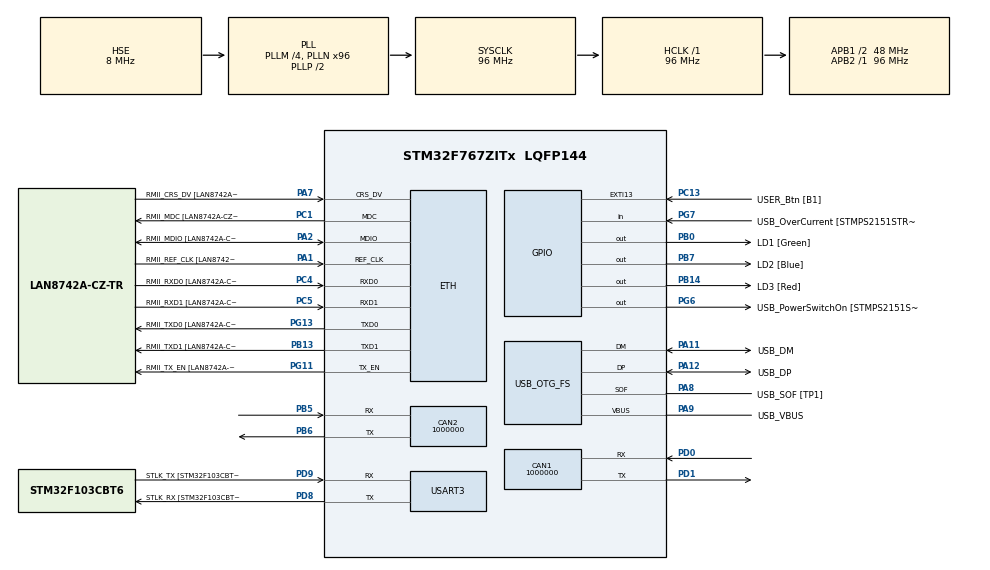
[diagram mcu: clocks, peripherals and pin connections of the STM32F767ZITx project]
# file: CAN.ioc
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CAN1.CalculateBaudRate=1000000
CAN1.CalculateTimeQuantum=333.3333333333333
CAN2.CalculateBaudRate=1000000
CAN2.CalculateTimeQuantum=333.3333333333333
ETH.MediaInterface=HAL_ETH_RMII_MODE
ETH.PHY_Name=LAN8742A_PHY_ADDRESS
ETH.PHY_Value=0
ETH.PhyAddress=0
FREERTOS.Tasks01=defaultTask,24,128,StartDefaultTask,Default,NULL,Dynamic,NULL,NULL;can1_sender,16,128,can1_sender_entry,Default,NULL,Dynamic,NULL,NULL;can2_sender,24,128,can2_sender_entry,Default,NULL,Dynamic,NULL,NULL
Mcu.Family=STM32F7
Mcu.Name=STM32F767ZITx
Mcu.Package=LQFP144
NVIC.CAN1_RX0_IRQn=true\:5\:0\:false\:false\:true\:true\:true\:true\:true
NVIC.CAN1_RX1_IRQn=true\:5\:0\:false\:false\:true\:true\:true\:true\:true
NVIC.CAN2_RX0_IRQn=true\:6\:0\:true\:false\:true\:true\:true\:true\:true
NVIC.CAN2_RX1_IRQn=true\:6\:0\:true\:false\:true\:true\:true\:true\:true
NVIC.PriorityGroup=NVIC_PRIORITYGROUP_4
PA1.GPIO_Label=RMII_REF_CLK [LAN8742A-CZ-TR_REFCLK0]
PA1.Mode=RMII
PA1.Signal=ETH_REF_CLK
PA10.GPIO_Label=USB_ID
PA10.Signal=USB_OTG_FS_ID
PA11.GPIO_Label=USB_DM
PA11.Mode=Device_Only
PA11.Signal=USB_OTG_FS_DM
PA12.GPIO_Label=USB_DP
PA12.Mode=Device_Only
PA12.Signal=USB_OTG_FS_DP
PA13.GPIO_Label=TMS
PA13.Mode=Serial_Wire
PA13.Signal=SYS_JTMS-SWDIO
PA14.GPIO_Label=TCK
PA14.Mode=Serial_Wire
PA14.Signal=SYS_JTCK-SWCLK
PA2.GPIO_Label=RMII_MDIO [LAN8742A-CZ-TR_MDIO]
PA2.Mode=RMII
PA2.Signal=ETH_MDIO
PA7.GPIO_Label=RMII_CRS_DV [LAN8742A-CZ-TR_CRS_DV]
PA7.Mode=RMII
PA7.Signal=ETH_CRS_DV
PA8.GPIO_Label=USB_SOF [TP1]
PA8.Mode=Activate_SOF_FS
PA8.Signal=USB_OTG_FS_SOF
PA9.GPIO_Label=USB_VBUS
PA9.Mode=Activate_VBUS
PA9.Signal=USB_OTG_FS_VBUS
PB0.GPIO_Label=LD1 [Green]
PB0.Signal=GPIO_Output
PB13.GPIO_Label=RMII_TXD1 [LAN8742A-CZ-TR_TXD1]
PB13.Mode=RMII
PB13.Signal=ETH_TXD1
PB14.GPIO_Label=LD3 [Red]
PB14.Signal=GPIO_Output
PB3.GPIO_Label=SWO
PB3.Signal=SYS_JTDO-SWO
PB5.Mode=CAN_Activate
PB5.Signal=CAN2_RX
PB6.Mode=CAN_Activate
PB6.Signal=CAN2_TX
PB7.GPIO_Label=LD2 [Blue]
PB7.Signal=GPIO_Output
PC1.GPIO_Label=RMII_MDC [LAN8742A-CZ-TR_MDC]
PC1.Mode=RMII
PC1.Signal=ETH_MDC
PC13.GPIO_Label=USER_Btn [B1]
PC13.Signal=GPXTI13
PC14/OSC32_IN.Mode=LSE-External-Oscillator
PC14/OSC32_IN.Signal=RCC_OSC32_IN
PC15/OSC32_OUT.Mode=LSE-External-Oscillator
PC15/OSC32_OUT.Signal=RCC_OSC32_OUT
PC4.GPIO_Label=RMII_RXD0 [LAN8742A-CZ-TR_RXD0]
PC4.Mode=RMII
PC4.Signal=ETH_RXD0
PC5.GPIO_Label=RMII_RXD1 [LAN8742A-CZ-TR_RXD1]
PC5.Mode=RMII
PC5.Signal=ETH_RXD1
PD0.Mode=CAN_Activate
PD0.Signal=CAN1_RX
PD1.Mode=CAN_Activate
PD1.Signal=CAN1_TX
PD8.GPIO_Label=STLK_RX [STM32F103CBT6_PA3]
PD8.Mode=Asynchronous
PD8.Signal=USART3_TX
PD9.GPIO_Label=STLK_TX [STM32F103CBT6_PA2]
PD9.Mode=Asynchronous
PD9.Signal=USART3_RX
PG11.GPIO_Label=RMII_TX_EN [LAN8742A-CZ-TR_TXEN]
PG11.Mode=RMII
PG11.Signal=ETH_TX_EN
PG13.GPIO_Label=RMII_TXD0 [LAN8742A-CZ-TR_TXD0]
PG13.Mode=RMII
PG13.Signal=ETH_TXD0
PG6.GPIO_Label=USB_PowerSwitchOn [STMPS2151STR_EN]
PG6.Signal=GPIO_Output
PG7.GPIO_Label=USB_OverCurrent [STMPS2151STR_FAULT]
PG7.Signal=GPIO_Input
PH0/OSC_IN.GPIO_Label=MCO [STM32F103CBT6_PA8]
PH0/OSC_IN.Mode=HSE-External-Clock-Source
PH0/OSC_IN.Signal=RCC_OSC_IN
PH1/OSC_OUT.Mode=HSE-External-Clock-Source
PH1/OSC_OUT.Signal=RCC_OSC_OUT
ProjectManager.HeapSize=0x200
ProjectManager.StackSize=0x400
ProjectManager.TargetToolchain=STM32CubeIDE
RCC.48MHZClocksFreq_Value=24000000
RCC.AHBFreq_Value=96000000
RCC.APB1CLKDivider=RCC_HCLK_DIV2
RCC.APB1Freq_Value=48000000
RCC.APB1TimFreq_Value=96000000
RCC.APB2Freq_Value=96000000
RCC.APB2TimFreq_Value=96000000
RCC.CortexFreq_Value=96000000
RCC.HCLKFreq_Value=96000000
RCC.HSE_VALUE=8000000
RCC.HSI_VALUE=16000000
RCC.PLLM=4
RCC.PLLMUL=RCC_PLL_MUL9
RCC.PLLN=96
RCC.PLLQ=4
RCC.PRESCALERUSB=RCC_USBCLKSOURCE_PLL_DIV1_5
RCC.SYSCLKFreq_VALUE=96000000
RCC.SYSCLKSource=RCC_SYSCLKSOURCE_PLLCLK
RCC.SYSCLKSourceVirtual=RCC_SYSCLKSOURCE_PLLCLK
RCC.USBFreq_Value=48000000
RCC.VCOOutputFreq_Value=192000000
USART3.VirtualMode-Asynchronous=VM_ASYNC
USB_OTG_FS.VirtualMode=Device_Only
VP_FREERTOS_VS_CMSIS_V2.Mode=CMSIS_V2
board=NUCLEO-F767ZI

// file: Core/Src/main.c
/* USER CODE BEGIN Header */
/**
  ******************************************************************************
  * @file           : main.c
  * @brief          : Main program body
  ******************************************************************************
  * @attention
  *
  * Copyright (c) 2023 STMicroelectronics.
  * All rights reserved.
  *
  * This software is licensed under terms that can be found in the LICENSE file
  * in the root directory of this software component.
  * If no LICENSE file comes with this software, it is provided AS-IS.
  *
  ******************************************************************************
  */
/* USER CODE END Header */
#include "main.h"
#include "string.h"
#include "cmsis_os.h"

/* USER CODE BEGIN Includes */
#include <SEGGER_SYSVIEW.h>
/* USER CODE END Includes */

#if defined ( __ICCARM__ ) /*!< IAR Compiler */
#pragma location=0x2007c000
ETH_DMADescTypeDef  DMARxDscrTab[ETH_RX_DESC_CNT]; /* Ethernet Rx DMA Descriptors */
#pragma location=0x2007c0a0
ETH_DMADescTypeDef  DMATxDscrTab[ETH_TX_DESC_CNT]; /* Ethernet Tx DMA Descriptors */

#elif defined ( __CC_ARM )  /* MDK ARM Compiler */

__attribute__((at(0x2007c000))) ETH_DMADescTypeDef  DMARxDscrTab[ETH_RX_DESC_CNT]; /* Ethernet Rx DMA Descriptors */
__attribute__((at(0x2007c0a0))) ETH_DMADescTypeDef  DMATxDscrTab[ETH_TX_DESC_CNT]; /* Ethernet Tx DMA Descriptors */

#elif defined ( __GNUC__ ) /* GNU Compiler */
ETH_DMADescTypeDef DMARxDscrTab[ETH_RX_DESC_CNT] __attribute__((section(".RxDecripSection"))); /* Ethernet Rx DMA Descriptors */
ETH_DMADescTypeDef DMATxDscrTab[ETH_TX_DESC_CNT] __attribute__((section(".TxDecripSection")));   /* Ethernet Tx DMA Descriptors */

#endif

ETH_TxPacketConfig TxConfig;

CAN_HandleTypeDef hcan1;
CAN_HandleTypeDef hcan2;

ETH_HandleTypeDef heth;

UART_HandleTypeDef huart3;

PCD_HandleTypeDef hpcd_USB_OTG_FS;

/* Definitions for defaultTask */
osThreadId_t defaultTaskHandle;
const osThreadAttr_t defaultTask_attributes = {
  .name = "defaultTask",
  .stack_size = 128 * 4,
  .priority = (osPriority_t) osPriorityNormal,
};
/* Definitions for can1_sender */
osThreadId_t can1_senderHandle;
const osThreadAttr_t can1_sender_attributes = {
  .name = "can1_sender",
  .stack_size = 128 * 4,
  .priority = (osPriority_t) osPriorityBelowNormal,
};
/* Definitions for can2_sender */
osThreadId_t can2_senderHandle;
const osThreadAttr_t can2_sender_attributes = {
  .name = "can2_sender",
  .stack_size = 128 * 4,
  .priority = (osPriority_t) osPriorityNormal,
};

void SystemClock_Config(void);
static void MX_GPIO_Init(void);
static void MX_ETH_Init(void);
static void MX_USART3_UART_Init(void);
static void MX_USB_OTG_FS_PCD_Init(void);
static void MX_CAN1_Init(void);
static void MX_CAN2_Init(void);
void StartDefaultTask(void *argument);
void can1_sender_entry(void *argument);
void can2_sender_entry(void *argument);

/* USER CODE BEGIN 0 */

uint8_t RxData[8];
CAN_RxHeaderTypeDef RxHeader;
int datacheck = 0;
void HAL_CAN_RxFifo0MsgPendingCallback(CAN_HandleTypeDef *hcan)
{
	SEGGER_SYSVIEW_PrintfHost("received");
	HAL_CAN_GetRxMessage(hcan, CAN_RX_FIFO0, &RxHeader, RxData);
	if (RxHeader.DLC == 2)
	{
		SEGGER_SYSVIEW_PrintfHost("received");
	}
}
void HAL_CAN_RxFifo1MsgPendingCallback(CAN_HandleTypeDef *hcan)
{
	SEGGER_SYSVIEW_PrintfHost("received");
	HAL_CAN_GetRxMessage(hcan, CAN_RX_FIFO0, &RxHeader, RxData);
	if (RxHeader.DLC == 2)
	{
		SEGGER_SYSVIEW_PrintfHost("received");
	}
}
/* USER CODE END 0 */

int main(void)
{

  /* MCU Configuration--------------------------------------------------------*/

  /* Reset of all peripherals, Initializes the Flash interface and the Systick. */
  HAL_Init();

  /* Configure the system clock */
  SystemClock_Config();

  /* Initialize all configured peripherals */
  MX_GPIO_Init();
  MX_ETH_Init();
  MX_USART3_UART_Init();
  MX_USB_OTG_FS_PCD_Init();
  MX_CAN1_Init();
  MX_CAN2_Init();
  /* USER CODE BEGIN 2 */
  SEGGER_SYSVIEW_Conf();
  HAL_CAN_Start(&hcan1);
  HAL_CAN_Start(&hcan2);
  HAL_CAN_ActivateNotification(&hcan2, CAN_IT_RX_FIFO0_MSG_PENDING);
  /* USER CODE END 2 */

  /* Init scheduler */
  osKernelInitialize();

  /* Create the thread(s) */
  /* creation of defaultTask */
  defaultTaskHandle = osThreadNew(StartDefaultTask, NULL, &defaultTask_attributes);

  /* creation of can1_sender */
  can1_senderHandle = osThreadNew(can1_sender_entry, NULL, &can1_sender_attributes);

  /* creation of can2_sender */
  can2_senderHandle = osThreadNew(can2_sender_entry, NULL, &can2_sender_attributes);

  /* Start scheduler */
  osKernelStart();

  /* We should never get here as control is now taken by the scheduler */
  /* Infinite loop */
  while (1)
  {

  }
}

void SystemClock_Config(void)
{
  RCC_OscInitTypeDef RCC_OscInitStruct = {0};
  RCC_ClkInitTypeDef RCC_ClkInitStruct = {0};

  /** Configure LSE Drive Capability
  */
  HAL_PWR_EnableBkUpAccess();

  /** Configure the main internal regulator output voltage
  */
  __HAL_RCC_PWR_CLK_ENABLE();
  __HAL_PWR_VOLTAGESCALING_CONFIG(PWR_REGULATOR_VOLTAGE_SCALE3);

  /** Initializes the RCC Oscillators according to the specified parameters
  * in the RCC_OscInitTypeDef structure.
  */
  RCC_OscInitStruct.OscillatorType = RCC_OSCILLATORTYPE_HSE;
  RCC_OscInitStruct.HSEState = RCC_HSE_BYPASS;
  RCC_OscInitStruct.PLL.PLLState = RCC_PLL_ON;
  RCC_OscInitStruct.PLL.PLLSource = RCC_PLLSOURCE_HSE;
  RCC_OscInitStruct.PLL.PLLM = 4;
  RCC_OscInitStruct.PLL.PLLN = 96;
  RCC_OscInitStruct.PLL.PLLP = RCC_PLLP_DIV2;
  RCC_OscInitStruct.PLL.PLLQ = 4;
  RCC_OscInitStruct.PLL.PLLR = 2;
  if (HAL_RCC_OscConfig(&RCC_OscInitStruct) != HAL_OK)
  {
    Error_Handler();
  }

  /** Activate the Over-Drive mode
  */
  if (HAL_PWREx_EnableOverDrive() != HAL_OK)
  {
    Error_Handler();
  }

  /** Initializes the CPU, AHB and APB buses clocks
  */
  RCC_ClkInitStruct.ClockType = RCC_CLOCKTYPE_HCLK|RCC_CLOCKTYPE_SYSCLK
                              |RCC_CLOCKTYPE_PCLK1|RCC_CLOCKTYPE_PCLK2;
  RCC_ClkInitStruct.SYSCLKSource = RCC_SYSCLKSOURCE_PLLCLK;
  RCC_ClkInitStruct.AHBCLKDivider = RCC_SYSCLK_DIV1;
  RCC_ClkInitStruct.APB1CLKDivider = RCC_HCLK_DIV2;
  RCC_ClkInitStruct.APB2CLKDivider = RCC_HCLK_DIV1;

  if (HAL_RCC_ClockConfig(&RCC_ClkInitStruct, FLASH_LATENCY_3) != HAL_OK)
  {
    Error_Handler();
  }
}

static void MX_CAN1_Init(void)
{

  hcan1.Instance = CAN1;
  hcan1.Init.Prescaler = 16;
  hcan1.Init.Mode = CAN_MODE_NORMAL;
  hcan1.Init.SyncJumpWidth = CAN_SJW_1TQ;
  hcan1.Init.TimeSeg1 = CAN_BS1_1TQ;
  hcan1.Init.TimeSeg2 = CAN_BS2_1TQ;
  hcan1.Init.TimeTriggeredMode = DISABLE;
  hcan1.Init.AutoBusOff = DISABLE;
  hcan1.Init.AutoWakeUp = DISABLE;
  hcan1.Init.AutoRetransmission = DISABLE;
  hcan1.Init.ReceiveFifoLocked = DISABLE;
  hcan1.Init.TransmitFifoPriority = DISABLE;
  if (HAL_CAN_Init(&hcan1) != HAL_OK)
  {
    Error_Handler();
  }

}

static void MX_CAN2_Init(void)
{

  hcan2.Instance = CAN2;
  hcan2.Init.Prescaler = 16;
  hcan2.Init.Mode = CAN_MODE_NORMAL;
  hcan2.Init.SyncJumpWidth = CAN_SJW_1TQ;
  hcan2.Init.TimeSeg1 = CAN_BS1_1TQ;
  hcan2.Init.TimeSeg2 = CAN_BS2_1TQ;
  hcan2.Init.TimeTriggeredMode = DISABLE;
  hcan2.Init.AutoBusOff = DISABLE;
  hcan2.Init.AutoWakeUp = DISABLE;
  hcan2.Init.AutoRetransmission = DISABLE;
  hcan2.Init.ReceiveFifoLocked = DISABLE;
  hcan2.Init.TransmitFifoPriority = DISABLE;
  if (HAL_CAN_Init(&hcan2) != HAL_OK)
  {
    Error_Handler();
  }
  /* USER CODE BEGIN CAN2_Init 2 */
  CAN_FilterTypeDef canfilterconfig;

  canfilterconfig.FilterActivation = CAN_FILTER_ENABLE;
  canfilterconfig.FilterBank = 18;  // which filter bank to use from the assigned ones
  canfilterconfig.FilterFIFOAssignment = CAN_FILTER_FIFO0;
  canfilterconfig.FilterIdHigh = 0x101<<5;
  canfilterconfig.FilterIdLow = 0;
  canfilterconfig.FilterMaskIdHigh = 0x101<<5;
  canfilterconfig.FilterMaskIdLow = 0x0000;
  canfilterconfig.FilterMode = CAN_FILTERMODE_IDMASK;
  canfilterconfig.FilterScale = CAN_FILTERSCALE_32BIT;
  canfilterconfig.SlaveStartFilterBank = 20;  // how many filters to assign to the CAN1 (master can)

  HAL_CAN_ConfigFilter(&hcan2, &canfilterconfig);
  /* USER CODE END CAN2_Init 2 */

}

static void MX_ETH_Init(void)
{

   static uint8_t MACAddr[6];

  heth.Instance = ETH;
  MACAddr[0] = 0x00;
  MACAddr[1] = 0x80;
  MACAddr[2] = 0xE1;
  MACAddr[3] = 0x00;
  MACAddr[4] = 0x00;
  MACAddr[5] = 0x00;
  heth.Init.MACAddr = &MACAddr[0];
  heth.Init.MediaInterface = HAL_ETH_RMII_MODE;
  heth.Init.TxDesc = DMATxDscrTab;
  heth.Init.RxDesc = DMARxDscrTab;
  heth.Init.RxBuffLen = 1524;

  if (HAL_ETH_Init(&heth) != HAL_OK)
  {
    Error_Handler();
  }

  memset(&TxConfig, 0 , sizeof(ETH_TxPacketConfig));
  TxConfig.Attributes = ETH_TX_PACKETS_FEATURES_CSUM | ETH_TX_PACKETS_FEATURES_CRCPAD;
  TxConfig.ChecksumCtrl = ETH_CHECKSUM_IPHDR_PAYLOAD_INSERT_PHDR_CALC;
  TxConfig.CRCPadCtrl = ETH_CRC_PAD_INSERT;

}

static void MX_USART3_UART_Init(void)
{

  huart3.Instance = USART3;
  huart3.Init.BaudRate = 115200;
  huart3.Init.WordLength = UART_WORDLENGTH_8B;
  huart3.Init.StopBits = UART_STOPBITS_1;
  huart3.Init.Parity = UART_PARITY_NONE;
  huart3.Init.Mode = UART_MODE_TX_RX;
  huart3.Init.HwFlowCtl = UART_HWCONTROL_NONE;
  huart3.Init.OverSampling = UART_OVERSAMPLING_16;
  huart3.Init.OneBitSampling = UART_ONE_BIT_SAMPLE_DISABLE;
  huart3.AdvancedInit.AdvFeatureInit = UART_ADVFEATURE_NO_INIT;
  if (HAL_UART_Init(&huart3) != HAL_OK)
  {
    Error_Handler();
  }

}

static void MX_USB_OTG_FS_PCD_Init(void)
{

  hpcd_USB_OTG_FS.Instance = USB_OTG_FS;
  hpcd_USB_OTG_FS.Init.dev_endpoints = 6;
  hpcd_USB_OTG_FS.Init.speed = PCD_SPEED_FULL;
  hpcd_USB_OTG_FS.Init.dma_enable = DISABLE;
  hpcd_USB_OTG_FS.Init.phy_itface = PCD_PHY_EMBEDDED;
  hpcd_USB_OTG_FS.Init.Sof_enable = ENABLE;
  hpcd_USB_OTG_FS.Init.low_power_enable = DISABLE;
  hpcd_USB_OTG_FS.Init.lpm_enable = DISABLE;
  hpcd_USB_OTG_FS.Init.vbus_sensing_enable = ENABLE;
  hpcd_USB_OTG_FS.Init.use_dedicated_ep1 = DISABLE;
  if (HAL_PCD_Init(&hpcd_USB_OTG_FS) != HAL_OK)
  {
    Error_Handler();
  }

}

static void MX_GPIO_Init(void)
{
  GPIO_InitTypeDef GPIO_InitStruct = {0};

  /* GPIO Ports Clock Enable */
  __HAL_RCC_GPIOC_CLK_ENABLE();
  __HAL_RCC_GPIOH_CLK_ENABLE();
  __HAL_RCC_GPIOA_CLK_ENABLE();
  __HAL_RCC_GPIOB_CLK_ENABLE();
  __HAL_RCC_GPIOD_CLK_ENABLE();
  __HAL_RCC_GPIOG_CLK_ENABLE();

  /*Configure GPIO pin Output Level */
  HAL_GPIO_WritePin(GPIOB, LD1_Pin|LD3_Pin|LD2_Pin, GPIO_PIN_RESET);

  /*Configure GPIO pin Output Level */
  HAL_GPIO_WritePin(USB_PowerSwitchOn_GPIO_Port, USB_PowerSwitchOn_Pin, GPIO_PIN_RESET);

  /*Configure GPIO pin : USER_Btn_Pin */
  GPIO_InitStruct.Pin = USER_Btn_Pin;
  GPIO_InitStruct.Mode = GPIO_MODE_IT_RISING;
  GPIO_InitStruct.Pull = GPIO_NOPULL;
  HAL_GPIO_Init(USER_Btn_GPIO_Port, &GPIO_InitStruct);

  /*Configure GPIO pins : LD1_Pin LD3_Pin LD2_Pin */
  GPIO_InitStruct.Pin = LD1_Pin|LD3_Pin|LD2_Pin;
  GPIO_InitStruct.Mode = GPIO_MODE_OUTPUT_PP;
  GPIO_InitStruct.Pull = GPIO_NOPULL;
  GPIO_InitStruct.Speed = GPIO_SPEED_FREQ_LOW;
  HAL_GPIO_Init(GPIOB, &GPIO_InitStruct);

  /*Configure GPIO pin : USB_PowerSwitchOn_Pin */
  GPIO_InitStruct.Pin = USB_PowerSwitchOn_Pin;
  GPIO_InitStruct.Mode = GPIO_MODE_OUTPUT_PP;
  GPIO_InitStruct.Pull = GPIO_NOPULL;
  GPIO_InitStruct.Speed = GPIO_SPEED_FREQ_LOW;
  HAL_GPIO_Init(USB_PowerSwitchOn_GPIO_Port, &GPIO_InitStruct);

  /*Configure GPIO pin : USB_OverCurrent_Pin */
  GPIO_InitStruct.Pin = USB_OverCurrent_Pin;
  GPIO_InitStruct.Mode = GPIO_MODE_INPUT;
  GPIO_InitStruct.Pull = GPIO_NOPULL;
  HAL_GPIO_Init(USB_OverCurrent_GPIO_Port, &GPIO_InitStruct);

}

void StartDefaultTask(void *argument)
{
  for(;;)
  {
    osDelay(1);
  }
}

void can1_sender_entry(void *argument)
{
  /* USER CODE BEGIN can1_sender_entry */
  /* Infinite loop */
  CAN_TxHeaderTypeDef   TxHeader;
  uint8_t               TxData[8];
  uint32_t              TxMailbox;
  TxHeader.IDE = CAN_ID_STD;
  TxHeader.StdId = 0x101;
  TxHeader.RTR = CAN_RTR_DATA;
  TxHeader.DLC = 2;

  TxData[0] = 50;
  TxData[1] = 0xAA;
  TxData[2] = 50;
  TxData[3] = 0xAA;
  for(;;)
  {
    osDelay(1);
    SEGGER_SYSVIEW_PrintfHost("Can1 send");
	HAL_CAN_AddTxMessage(&hcan1, &TxHeader, TxData, &TxMailbox);
  }
  /* USER CODE END can1_sender_entry */
}

void can2_sender_entry(void *argument)
{
  for(;;)
  {
    osDelay(1);
  }
}

void Error_Handler(void)
{
  __disable_irq();
  while (1)
  {
  }
}
